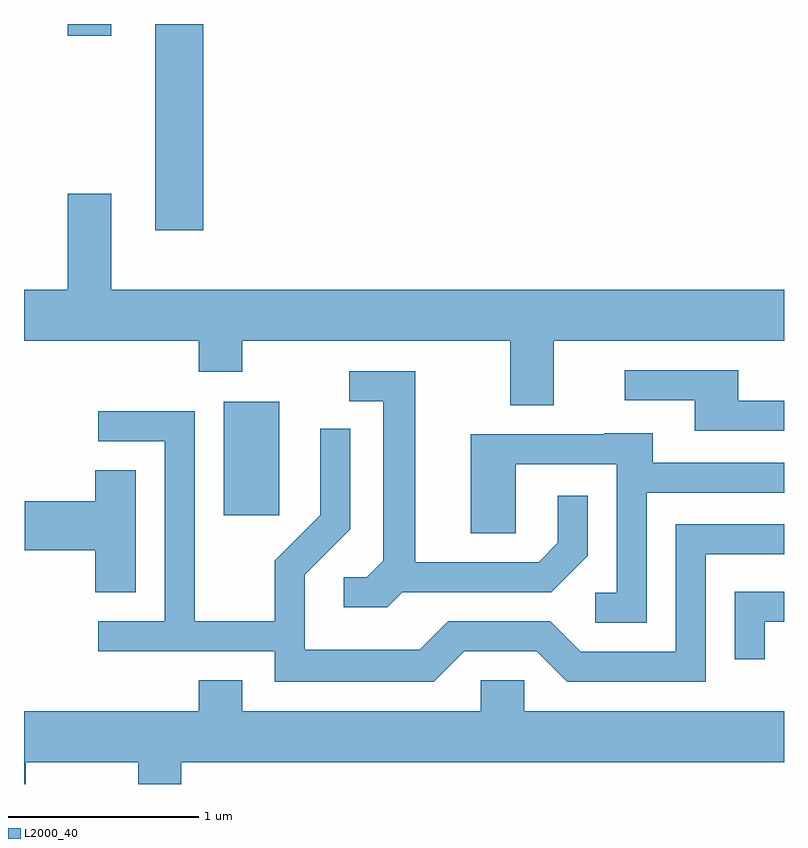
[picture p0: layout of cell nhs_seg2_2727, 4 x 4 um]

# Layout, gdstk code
import gdstk
lib = gdstk.Library(unit=1e-6, precision=1e-09)
def R(c, l, rs):  # rectangles x0, y0, x1, y1
    for r in rs: c.add(gdstk.rectangle(r[:2], r[2:], *l))
def P(c, l, *ps):  # polygons
    for p in ps: c.add(gdstk.Polygon(p, *l))
L2000_40 = (2000, 40)

nhs_seg2_2727 = lib.new_cell('nhs_seg2_2727')
R(nhs_seg2_2727, L2000_40, [(266.661,1005.216,266.954,1005.814), (266.301,1006.716,266.554,1007.802), (265.841,1007.741,266.069,1007.802)])
P(nhs_seg2_2727, L2000_40, [(268.399,1006.136),(269.611,1006.136),(269.611,1006.404),(266.069,1006.404),(266.069,1006.909),(265.841,1006.909),(265.841,1006.404),(265.611,1006.404),(265.611,1006.136),(266.531,1006.136),(266.531,1005.971),(266.759,1005.971),(266.759,1006.136),(268.171,1006.136),(268.171,1005.796),(268.399,1005.796)],
  [(269.611,1005.819),(269.369,1005.819),(269.369,1005.979),(268.773,1005.979),(268.773,1005.821),(269.141,1005.821),(269.141,1005.661),(269.611,1005.661)],
  [(267.602,1004.811),(268.387,1004.811),(268.579,1005.004),(268.579,1005.318),(268.421,1005.318),(268.421,1005.072),(268.319,1004.969),(267.669,1004.969),(267.669,1005.974),(267.323,1005.974),(267.323,1005.816),(267.501,1005.816),(267.501,1004.977),(267.414,1004.889),(267.293,1004.889),(267.293,1004.731),(267.522,1004.731)],
  [(267.927,1004.501),(268.309,1004.501),(268.469,1004.341),(269.199,1004.341),(269.199,1005.011),(269.611,1005.011),(269.611,1005.169),(269.041,1005.169),(269.041,1004.499),(268.542,1004.499),(268.382,1004.659),(267.844,1004.659),(267.694,1004.509),(267.089,1004.509),(267.089,1004.904),(267.329,1005.144),(267.329,1005.673),(267.171,1005.673),(267.171,1005.217),(266.931,1004.977),(266.931,1004.659),(266.509,1004.659),(266.509,1005.764),(266.003,1005.764),(266.003,1005.606),(266.351,1005.606),(266.351,1004.659),(266.003,1004.659),(266.003,1004.501),(266.931,1004.501),(266.931,1004.341),(267.767,1004.341)],
  [(268.889,1005.336),(269.611,1005.336),(269.611,1005.494),(268.919,1005.494),(268.919,1005.649),(268.665,1005.649),(268.665,1005.644),(267.961,1005.644),(267.961,1005.121),(268.199,1005.121),(268.199,1005.486),(268.731,1005.486),(268.731,1004.809),(268.618,1004.809),(268.618,1004.651),(268.889,1004.651)],
  [(266.199,1005.454),(265.986,1005.454),(265.986,1005.289),(265.616,1005.289),(265.616,1005.031),(265.986,1005.031),(265.986,1004.811),(266.199,1004.811)],
  [(269.509,1004.656),(269.611,1004.656),(269.611,1004.814),(269.351,1004.814),(269.351,1004.458),(269.509,1004.458)],
  [(265.619,1003.916),(266.211,1003.916),(266.211,1003.802),(266.439,1003.802),(266.439,1003.916),(269.611,1003.916),(269.611,1004.184),(268.244,1004.184),(268.244,1004.349),(268.016,1004.349),(268.016,1004.184),(266.759,1004.184),(266.759,1004.349),(266.531,1004.349),(266.531,1004.184),(265.611,1004.184),(265.611,1003.802),(265.619,1003.802)])

lib.write_gds('nhs_seg2_2727.gds')
